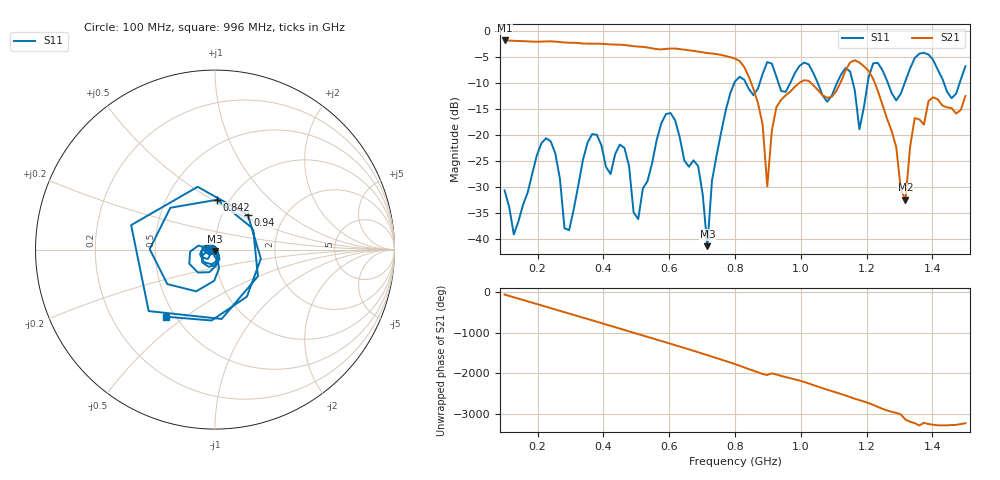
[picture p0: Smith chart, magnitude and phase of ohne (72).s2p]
! NanoVNA-App
! Date: 2025-09-25 14:21:21
! Start: 100MHz Stop: 1,5GHz Points: 101
! S-Parameter data: F S11 S21 S12 S22
# Hz S RI R 50
!  Frequency  S11_Real  S11_Imag  S21_Real  S21_Imag  S12_Real  S12_Imag  S22_Real  S22_Imag
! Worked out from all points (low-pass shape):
!   101 points, 100 MHz to 1.5 GHz, reference 50 ohm
!   highest |S21| = -1.79 dB at 100 MHz (marker M1); lowest = -32.4 dB at 1.318 GHz (marker M2)
!   |S21| within 3 dB of the highest: start of sweep to 771.8 MHz
!   lowest |S11| = -41.4 dB at 716 MHz (marker M3), VSWR 1.02, Z = 49.7 - j0.813 ohm
!   |S11| at or under -10 dB: start of sweep to 798 MHz; 833.2 MHz to 875 MHz (41.88 MHz wide, 4.9 % of centre); 1.052 GHz to 1.11 GHz (58.16 MHz wide, 5.38 % of centre) (the widest 3 of 7)
!   S12 and S22 are empty: the file has one direction only
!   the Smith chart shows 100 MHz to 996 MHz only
!   S11 on the Smith chart (normalised r, x): 100 MHz: 0.94, -0.01; 842 MHz: 0.88, +0.53; 940 MHz: 1.32, +0.55; 996 MHz: 0.45, -0.42
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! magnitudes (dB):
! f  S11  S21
! 100 MHz  -30.6  -1.8
! 128 MHz  -39.1  -1.9
! 226 MHz  -20.6  -2.0
! 296 MHz  -38.3  -2.2
! 338 MHz  -24.8  -2.4
! 464 MHz  -22.4  -2.7
! 506 MHz  -36.1  -3.0
! 576 MHz  -17.8  -3.5
! 688 MHz  -26.0  -3.9
! 716 MHz  -41.4  -4.2
! 800 MHz  -9.7  -5.3
! 842 MHz  -11.1  -8.8
! 898 MHz  -6.0  -29.9
! 940 MHz  -11.5  -13.2
! 996 MHz  -6.7  -9.9
! 1.038 GHz  -8.1  -10.4
! 1.178 GHz  -18.9  -6.1
! 1.22 GHz  -6.2  -9.2
! 1.276 GHz  -11.9  -19.2
! 1.318 GHz  -9.6  -32.4
! 1.346 GHz  -5.2  -16.7
! 1.5 GHz  -6.8  -12.5
